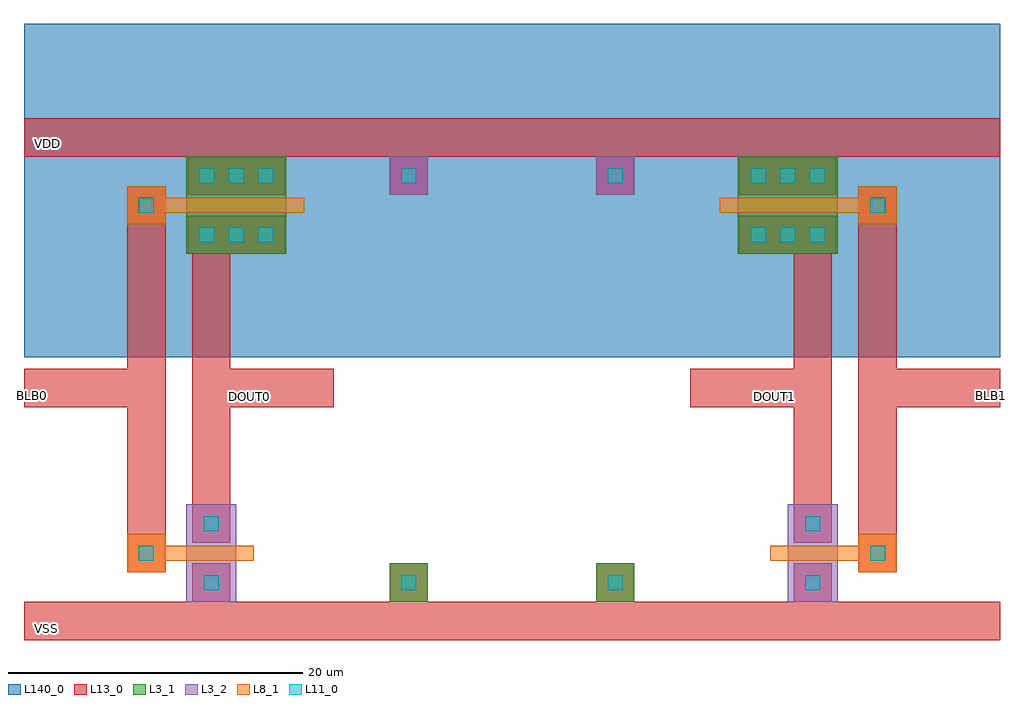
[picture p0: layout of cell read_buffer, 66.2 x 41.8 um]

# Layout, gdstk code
from math import pi, radians
import gdstk
lib = gdstk.Library(unit=1e-6, precision=1e-07)
def R(c, l, rs):  # rectangles x0, y0, x1, y1
    for r in rs: c.add(gdstk.rectangle(r[:2], r[2:], *l))
def A(c, l, x, y, w, h, nx, ny, dx, dy):  # array of equal rectangles
    R(c, l, [(x+i*dx, y+j*dy, x+i*dx+w, y+j*dy+h) for i in range(nx) for j in range(ny)])
L3_1 = (3, 1)
L3_2 = (3, 2)
L8_1 = (8, 1)
L11_0 = (11, 0)
L13_0 = (13, 0)
L140_0 = (140, 0)

fet_n = lib.new_cell('fet_n')
R(fet_n, L3_2, [(-3.3,-1.7,3.3,1.7)])
R(fet_n, L11_0, [(-2.5,-0.5,-1.5,0.5), (1.5,-0.5,2.5,0.5)])
R(fet_n, L13_0, [(-3.3,-1.3,-0.7,1.3), (0.7,-1.3,3.3,1.3)])
fet_n.add(gdstk.FlexPath([(0,-2.9),(0,2.9)], 1, ends="flush", simple_path=True, layer=8, datatype=1))  # L8_1

fet_p = lib.new_cell('fet_p')
R(fet_p, L3_1, [(-3.3,-3.4,3.3,3.4)])
A(fet_p, L11_0, -2.5, -2.5, 1, 1, 1, 3, 0, 2)
A(fet_p, L11_0, 1.5, -2.5, 1, 1, 1, 3, 0, 2)
R(fet_p, L13_0, [(-3.3,-3.3,-0.7,3.3), (0.7,-3.3,3.3,3.3)])
fet_p.add(gdstk.FlexPath([(0,-4.6),(0,4.6)], 1, ends="flush", simple_path=True, layer=8, datatype=1))  # L8_1

cont_g = lib.new_cell('cont_g')
R(cont_g, L8_1, [(-1.3,-1.3,1.3,1.3)])
R(cont_g, L11_0, [(-0.5,-0.5,0.5,0.5)])
R(cont_g, L13_0, [(-1.3,-1.3,1.3,1.3)])

cont_n = lib.new_cell('cont_n')
R(cont_n, L3_2, [(-1.3,-1.3,1.3,1.3)])
R(cont_n, L11_0, [(-0.5,-0.5,0.5,0.5)])
R(cont_n, L13_0, [(-1.3,-1.3,1.3,1.3)])

cont_p = lib.new_cell('cont_p')
R(cont_p, L3_1, [(-1.3,-1.3,1.3,1.3)])
R(cont_p, L11_0, [(-0.5,-0.5,0.5,0.5)])
R(cont_p, L13_0, [(-1.3,-1.3,1.3,1.3)])

read_buffer = lib.new_cell('read_buffer')
R(read_buffer, L8_1, [(-5.6,0.8,-5.4,1.8), (41.2,0.8,41.4,1.8), (-5.6,24.4,-5.4,25.4), (41.2,24.4,41.4,25.4)])
R(read_buffer, L13_0, [(-15.2,-4.6,51,-2), (-8.2,0,-5.6,26.2), (41.4,0,44,26.2), (-3.8,4.6,-1.2,21.6), (37,4.6,39.6,21.6), (-15.2,11.2,-8.2,13.8), (-1.2,11.2,5.8,13.8), (30,11.2,37,13.8), (44,11.2,51,13.8), (-15.2,28.2,51,30.8)])
R(read_buffer, L140_0, [(-15.2,14.6,9.6,37.2), (9.6,14.6,26.2,37.2), (26.2,14.6,51,37.2)])
read_buffer.add(gdstk.Reference(fet_n, (-2.5,1.3), rotation=3*pi/2, x_reflection=True))
read_buffer.add(gdstk.Reference(fet_p, (-0.8,24.9), rotation=3*pi/2, x_reflection=True))
read_buffer.add(gdstk.Reference(cont_g, (-6.9,24.9), rotation=3*pi/2, x_reflection=True))
read_buffer.add(gdstk.Reference(cont_g, (-6.9,1.3), rotation=3*pi/2, x_reflection=True))
read_buffer.add(gdstk.Reference(cont_n, (10.9,26.9), rotation=3*pi/2, x_reflection=True))
read_buffer.add(gdstk.Reference(fet_n, (38.3,1.3), rotation=3*pi/2))
read_buffer.add(gdstk.Reference(fet_p, (36.6,24.9), rotation=3*pi/2))
read_buffer.add(gdstk.Reference(cont_g, (42.7,24.9), rotation=3*pi/2))
read_buffer.add(gdstk.Reference(cont_g, (42.7,1.3), rotation=3*pi/2))
read_buffer.add(gdstk.Reference(cont_n, (24.9,26.9), rotation=3*pi/2, x_reflection=True))
read_buffer.add(gdstk.Reference(cont_p, (10.9,-0.7), rotation=3*pi/2, x_reflection=True))
read_buffer.add(gdstk.Reference(cont_p, (24.9,-0.7), rotation=3*pi/2, x_reflection=True))
read_buffer.add(gdstk.Label('BLB0', (-14.6,12), layer=48, texttype=0))
read_buffer.add(gdstk.Label('DOUT0', (0.1,11.9), layer=48, texttype=0))
read_buffer.add(gdstk.Label('BLB1', (50.4,12), layer=48, texttype=0))
read_buffer.add(gdstk.Label('DOUT1', (35.7,11.9), layer=48, texttype=0))
read_buffer.add(gdstk.Label('VSS', (-13.7,-3.8), layer=48, texttype=0))
read_buffer.add(gdstk.Label('VDD', (-13.6,29.1), layer=48, texttype=0))

lib.write_gds('read_buffer.gds')
